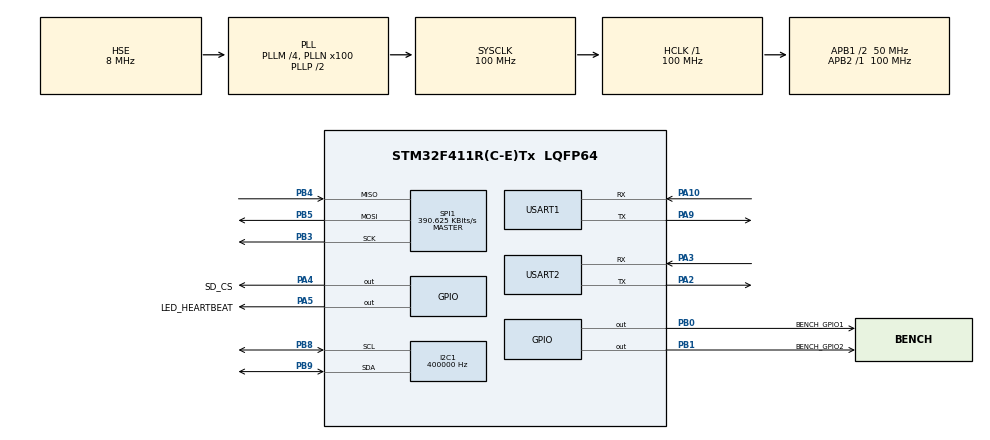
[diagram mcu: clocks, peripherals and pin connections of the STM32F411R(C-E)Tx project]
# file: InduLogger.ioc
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Dma.Request0=USART1_RX
Dma.USART1_RX.0.Direction=DMA_PERIPH_TO_MEMORY
Dma.USART1_RX.0.FIFOMode=DMA_FIFOMODE_DISABLE
Dma.USART1_RX.0.Instance=DMA2_Stream2
Dma.USART1_RX.0.MemDataAlignment=DMA_MDATAALIGN_BYTE
Dma.USART1_RX.0.MemInc=DMA_MINC_ENABLE
Dma.USART1_RX.0.Mode=DMA_CIRCULAR
Dma.USART1_RX.0.PeriphDataAlignment=DMA_PDATAALIGN_BYTE
Dma.USART1_RX.0.PeriphInc=DMA_PINC_DISABLE
Dma.USART1_RX.0.Priority=DMA_PRIORITY_LOW
FATFS._USE_LFN=2
FREERTOS.Tasks01=defaultTask,0,512,StartDefaultTask,Default,NULL,Dynamic,NULL,NULL
FREERTOS.configTOTAL_HEAP_SIZE=30720
FREERTOS.configUSE_NEWLIB_REENTRANT=1
I2C1.ClockSpeed=400000
I2C1.I2C_Mode=I2C_Fast
IWDG.Prescaler=IWDG_PRESCALER_32
IWDG.Reload=1999
Mcu.Family=STM32F4
Mcu.Name=STM32F411R(C-E)Tx
Mcu.Package=LQFP64
NVIC.DMA2_Stream2_IRQn=true\:5\:0\:false\:false\:true\:true\:false\:true\:true
NVIC.PriorityGroup=NVIC_PRIORITYGROUP_4
NVIC.TIM1_TRG_COM_TIM11_IRQn=true\:15\:0\:false\:false\:true\:false\:false\:true\:true
NVIC.TimeBase=TIM1_TRG_COM_TIM11_IRQn
NVIC.TimeBaseIP=TIM11
NVIC.USART1_IRQn=true\:5\:0\:false\:false\:true\:true\:true\:true\:true
PA10.Mode=Asynchronous
PA10.Signal=USART1_RX
PA13.Mode=Serial_Wire
PA13.Signal=SYS_JTMS-SWDIO
PA14.Mode=Serial_Wire
PA14.Signal=SYS_JTCK-SWCLK
PA2.Mode=Asynchronous
PA2.Signal=USART2_TX
PA3.Mode=Asynchronous
PA3.Signal=USART2_RX
PA4.GPIO_Label=SD_CS
PA4.Signal=GPIO_Output
PA5.GPIO_Label=LED_HEARTBEAT
PA5.Signal=GPIO_Output
PA9.Mode=Asynchronous
PA9.Signal=USART1_TX
PB0.GPIO_Label=BENCH_GPIO1
PB0.Signal=GPIO_Output
PB1.GPIO_Label=BENCH_GPIO2
PB1.Signal=GPIO_Output
PB3.Mode=Full_Duplex_Master
PB3.Signal=SPI1_SCK
PB4.Mode=Full_Duplex_Master
PB4.Signal=SPI1_MISO
PB5.Mode=Full_Duplex_Master
PB5.Signal=SPI1_MOSI
PB8.Mode=I2C
PB8.Signal=I2C1_SCL
PB9.Mode=I2C
PB9.Signal=I2C1_SDA
PH0\ -\ OSC_IN.Mode=HSE-External-Clock-Source
PH0\ -\ OSC_IN.Signal=RCC_OSC_IN
PH1\ -\ OSC_OUT.Mode=HSE-External-Clock-Source
PH1\ -\ OSC_OUT.Signal=RCC_OSC_OUT
ProjectManager.HeapSize=0x200
ProjectManager.StackSize=0x400
ProjectManager.TargetToolchain=STM32CubeIDE
RCC.48MHZClocksFreq_Value=50000000
RCC.AHBFreq_Value=100000000
RCC.APB1CLKDivider=RCC_HCLK_DIV2
RCC.APB1Freq_Value=50000000
RCC.APB1TimFreq_Value=100000000
RCC.APB2Freq_Value=100000000
RCC.APB2TimFreq_Value=100000000
RCC.CortexFreq_Value=100000000
RCC.HCLKFreq_Value=100000000
RCC.HSE_VALUE=8000000
RCC.HSI_VALUE=16000000
RCC.LSE_VALUE=32768
RCC.PLLM=4
RCC.PLLN=100
RCC.PLLSourceVirtual=RCC_PLLSOURCE_HSE
RCC.SYSCLKFreq_VALUE=100000000
RCC.SYSCLKSource=RCC_SYSCLKSOURCE_PLLCLK
RCC.VCOOutputFreq_Value=200000000
SPI1.BaudRatePrescaler=SPI_BAUDRATEPRESCALER_256
SPI1.CalculateBaudRate=390.625 KBits/s
SPI1.Direction=SPI_DIRECTION_2LINES
SPI1.Mode=SPI_MODE_MASTER
SPI1.Prescaler=SPI_BAUDRATEPRESCALER_256
SPI1.VirtualType=VM_MASTER
USART1.VirtualMode=VM_ASYNC
USART2.VirtualMode=VM_ASYNC
VP_FATFS_VS_Generic.Mode=User_defined
VP_FREERTOS_VS_CMSIS_V1.Mode=CMSIS_V1
VP_IWDG_VS_IWDG.Mode=IWDG_Activate
VP_SYS_VS_tim11.Mode=TIM11
board=custom

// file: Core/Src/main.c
/* USER CODE BEGIN Header */
/**
  ******************************************************************************
  * @file           : main.c
  * @brief          : Main program body
  ******************************************************************************
  * @attention
  *
  * Copyright (c) 2026 STMicroelectronics.
  * All rights reserved.
  *
  * This software is licensed under terms that can be found in the LICENSE file
  * in the root directory of this software component.
  * If no LICENSE file comes with this software, it is provided AS-IS.
  *
  ******************************************************************************
  */
/* USER CODE END Header */
#include "main.h"
#include "cmsis_os.h"
#include "fatfs.h"

/* USER CODE BEGIN Includes */
#include <stdio.h>
#include "app/industrial_logger/app_logger.h"
#include "app/industrial_logger/app_monitor.h"
#include "app/industrial_logger/app_sensors.h"
#include "bsp/uart_link/uart_link.h"
#include "platform/comm/app_comm.h"
#include "platform/config/config.h"
#include "platform/console/console.h"
#include "platform/diag/diag.h"
#include "platform/stats/stats.h"
/* USER CODE END Includes */

I2C_HandleTypeDef hi2c1;

IWDG_HandleTypeDef hiwdg;

SPI_HandleTypeDef hspi1;

UART_HandleTypeDef huart1;
UART_HandleTypeDef huart2;
DMA_HandleTypeDef hdma_usart1_rx;

osThreadId defaultTaskHandle;
/* USER CODE BEGIN PV */
/* Task 9 (T9): Sensor -> sensorQ -> Logger; Monitor alive-masks the IWDG.
 * Handles live here (single creation point) and are read by app_monitor.c. */
QueueHandle_t sensorQ;
TaskHandle_t sensorTaskHandle;
TaskHandle_t loggerTaskHandle;
TaskHandle_t monitorTaskHandle;
TaskHandle_t commTaskHandle;
/* USER CODE END PV */

void SystemClock_Config(void);
static void MX_GPIO_Init(void);
static void MX_DMA_Init(void);
static void MX_IWDG_Init(void);
static void MX_I2C1_Init(void);
static void MX_SPI1_Init(void);
static void MX_USART1_UART_Init(void);
static void MX_USART2_UART_Init(void);
void StartDefaultTask(void const * argument);

int main(void)
{

  /* MCU Configuration--------------------------------------------------------*/

  /* Reset of all peripherals, Initializes the Flash interface and the Systick. */
  HAL_Init();

  /* Configure the system clock */
  SystemClock_Config();

  /* Initialize all configured peripherals */
  MX_GPIO_Init();
  MX_DMA_Init();
  MX_IWDG_Init();
  MX_I2C1_Init();
  MX_SPI1_Init();
  MX_USART1_UART_Init();
  MX_USART2_UART_Init();
  MX_FATFS_Init();
  /* USER CODE BEGIN 2 */
  DBGMCU->APB1FZ |= DBGMCU_APB1_FZ_DBG_IWDG_STOP; /* pause IWDG under debugger */
  diag_dwt_init(); /* DWT cycle counter + bench GPIOs (T10) */
  console_init(); /* banner + printf retarget over ST-LINK VCP */
  printf("reset cause: %s\r\n", reset_cause_name(stats_boot_cause()));
  uart_link_init(); /* USART1 IDLE-line DMA receiver (M2.2, Task 5) */
  /* USER CODE END 2 */

  /* Create the thread(s) */
  /* definition and creation of defaultTask */
  osThreadDef(defaultTask, StartDefaultTask, osPriorityNormal, 0, 512);
  defaultTaskHandle = osThreadCreate(osThread(defaultTask), NULL);

  /* USER CODE BEGIN RTOS_THREADS */
  /* Task 9: Sensor -> sensorQ -> Logger (CSV); Monitor feeds IWDG on the
   * alive-mask. Queue first (producers/consumers start with it in place). */
  sensorQ = xQueueCreate(SENSOR_Q_LEN, sizeof(sensor_sample_t));
  configASSERT(sensorQ != NULL);
  /* Priorities (T9 Step 6 board finding): the Monitor must outrank the
   * throughput worker. At 200 Hz stress sampling the queue stays full and the
   * logger busy-loops (xQueueReceive never blocks); at prio 1 the monitor was
   * starved below the logger's prio 2 -> no wd_all_alive() -> no IWDG feed ->
   * ~2 s resets (26 cycles captured). Watchdog-check at prio 2 costs nothing
   * (runs microseconds per second); the logger at prio 1 still receives the
   * sensor's blocking gaps (~90% of CPU at any realistic sample rate). */
  xTaskCreate(app_sensor_task, "sensor", 512, NULL, 3, &sensorTaskHandle);
  xTaskCreate(app_logger_task, "logger", 1024, NULL, 1, &loggerTaskHandle);
  /* Monitor = HIGHEST priority (board evidence, stress round): a throughput
   * task that keeps missing its deadline (vTaskDelayUntil with work longer
   * than the period never blocks = never yields) starves every lower-prio
   * task, watchdog included. The watchdog must preempt. */
  xTaskCreate(app_monitor_task, "monitor", 512, NULL, 4, &monitorTaskHandle);
  /* CommTask = M2.2 UART link driver. Prio 2: MUST stay below monitor (4)
   * so it can never starve the 1 s IWDG feed (T9 discipline); above the
   * logger (1) so link traffic outranks flash writes. */
  xTaskCreate(app_comm_task, "comm", 1024, NULL, 2, &commTaskHandle);
  /* USER CODE END RTOS_THREADS */

  /* Start scheduler */
  osKernelStart();

  /* We should never get here as control is now taken by the scheduler */

  /* Infinite loop */
  while (1)
  {

  }
}

void SystemClock_Config(void)
{
  RCC_OscInitTypeDef RCC_OscInitStruct = {0};
  RCC_ClkInitTypeDef RCC_ClkInitStruct = {0};

  /** Configure the main internal regulator output voltage
  */
  __HAL_RCC_PWR_CLK_ENABLE();
  __HAL_PWR_VOLTAGESCALING_CONFIG(PWR_REGULATOR_VOLTAGE_SCALE1);

  /** Initializes the RCC Oscillators according to the specified parameters
  * in the RCC_OscInitTypeDef structure.
  */
  RCC_OscInitStruct.OscillatorType = RCC_OSCILLATORTYPE_LSI|RCC_OSCILLATORTYPE_HSE;
  RCC_OscInitStruct.HSEState = RCC_HSE_BYPASS;
  RCC_OscInitStruct.LSIState = RCC_LSI_ON;
  RCC_OscInitStruct.PLL.PLLState = RCC_PLL_ON;
  RCC_OscInitStruct.PLL.PLLSource = RCC_PLLSOURCE_HSE;
  RCC_OscInitStruct.PLL.PLLM = 4;
  RCC_OscInitStruct.PLL.PLLN = 100;
  RCC_OscInitStruct.PLL.PLLP = RCC_PLLP_DIV2;
  RCC_OscInitStruct.PLL.PLLQ = 4;
  if (HAL_RCC_OscConfig(&RCC_OscInitStruct) != HAL_OK)
  {
    Error_Handler();
  }

  /** Initializes the CPU, AHB and APB buses clocks
  */
  RCC_ClkInitStruct.ClockType = RCC_CLOCKTYPE_HCLK|RCC_CLOCKTYPE_SYSCLK
                              |RCC_CLOCKTYPE_PCLK1|RCC_CLOCKTYPE_PCLK2;
  RCC_ClkInitStruct.SYSCLKSource = RCC_SYSCLKSOURCE_PLLCLK;
  RCC_ClkInitStruct.AHBCLKDivider = RCC_SYSCLK_DIV1;
  RCC_ClkInitStruct.APB1CLKDivider = RCC_HCLK_DIV2;
  RCC_ClkInitStruct.APB2CLKDivider = RCC_HCLK_DIV1;

  if (HAL_RCC_ClockConfig(&RCC_ClkInitStruct, FLASH_LATENCY_3) != HAL_OK)
  {
    Error_Handler();
  }
}

static void MX_I2C1_Init(void)
{

  hi2c1.Instance = I2C1;
  hi2c1.Init.ClockSpeed = 400000;
  hi2c1.Init.DutyCycle = I2C_DUTYCYCLE_2;
  hi2c1.Init.OwnAddress1 = 0;
  hi2c1.Init.AddressingMode = I2C_ADDRESSINGMODE_7BIT;
  hi2c1.Init.DualAddressMode = I2C_DUALADDRESS_DISABLE;
  hi2c1.Init.OwnAddress2 = 0;
  hi2c1.Init.GeneralCallMode = I2C_GENERALCALL_DISABLE;
  hi2c1.Init.NoStretchMode = I2C_NOSTRETCH_DISABLE;
  if (HAL_I2C_Init(&hi2c1) != HAL_OK)
  {
    Error_Handler();
  }

}

static void MX_IWDG_Init(void)
{

  hiwdg.Instance = IWDG;
  hiwdg.Init.Prescaler = IWDG_PRESCALER_32;
  hiwdg.Init.Reload = 1999;
  if (HAL_IWDG_Init(&hiwdg) != HAL_OK)
  {
    Error_Handler();
  }

}

static void MX_SPI1_Init(void)
{

  /* SPI1 parameter configuration*/
  hspi1.Instance = SPI1;
  hspi1.Init.Mode = SPI_MODE_MASTER;
  hspi1.Init.Direction = SPI_DIRECTION_2LINES;
  hspi1.Init.DataSize = SPI_DATASIZE_8BIT;
  hspi1.Init.CLKPolarity = SPI_POLARITY_LOW;
  hspi1.Init.CLKPhase = SPI_PHASE_1EDGE;
  hspi1.Init.NSS = SPI_NSS_SOFT;
  hspi1.Init.BaudRatePrescaler = SPI_BAUDRATEPRESCALER_256;
  hspi1.Init.FirstBit = SPI_FIRSTBIT_MSB;
  hspi1.Init.TIMode = SPI_TIMODE_DISABLE;
  hspi1.Init.CRCCalculation = SPI_CRCCALCULATION_DISABLE;
  hspi1.Init.CRCPolynomial = 10;
  if (HAL_SPI_Init(&hspi1) != HAL_OK)
  {
    Error_Handler();
  }

}

static void MX_USART1_UART_Init(void)
{

  huart1.Instance = USART1;
  huart1.Init.BaudRate = 115200;
  huart1.Init.WordLength = UART_WORDLENGTH_8B;
  huart1.Init.StopBits = UART_STOPBITS_1;
  huart1.Init.Parity = UART_PARITY_NONE;
  huart1.Init.Mode = UART_MODE_TX_RX;
  huart1.Init.HwFlowCtl = UART_HWCONTROL_NONE;
  huart1.Init.OverSampling = UART_OVERSAMPLING_16;
  if (HAL_UART_Init(&huart1) != HAL_OK)
  {
    Error_Handler();
  }

}

static void MX_USART2_UART_Init(void)
{

  huart2.Instance = USART2;
  huart2.Init.BaudRate = 115200;
  huart2.Init.WordLength = UART_WORDLENGTH_8B;
  huart2.Init.StopBits = UART_STOPBITS_1;
  huart2.Init.Parity = UART_PARITY_NONE;
  huart2.Init.Mode = UART_MODE_TX_RX;
  huart2.Init.HwFlowCtl = UART_HWCONTROL_NONE;
  huart2.Init.OverSampling = UART_OVERSAMPLING_16;
  if (HAL_UART_Init(&huart2) != HAL_OK)
  {
    Error_Handler();
  }

}

static void MX_DMA_Init(void)
{

  /* DMA controller clock enable */
  __HAL_RCC_DMA2_CLK_ENABLE();

  /* DMA interrupt init */
  /* DMA2_Stream2_IRQn interrupt configuration */
  HAL_NVIC_SetPriority(DMA2_Stream2_IRQn, 5, 0);
  HAL_NVIC_EnableIRQ(DMA2_Stream2_IRQn);

}

static void MX_GPIO_Init(void)
{
  GPIO_InitTypeDef GPIO_InitStruct = {0};

  /* GPIO Ports Clock Enable */
  __HAL_RCC_GPIOH_CLK_ENABLE();
  __HAL_RCC_GPIOA_CLK_ENABLE();
  __HAL_RCC_GPIOB_CLK_ENABLE();

  /*Configure GPIO pin Output Level */
  HAL_GPIO_WritePin(GPIOA, SD_CS_Pin|LED_HEARTBEAT_Pin, GPIO_PIN_RESET);

  /*Configure GPIO pin Output Level */
  HAL_GPIO_WritePin(GPIOB, BENCH_GPIO1_Pin|BENCH_GPIO2_Pin, GPIO_PIN_RESET);

  /*Configure GPIO pins : SD_CS_Pin LED_HEARTBEAT_Pin */
  GPIO_InitStruct.Pin = SD_CS_Pin|LED_HEARTBEAT_Pin;
  GPIO_InitStruct.Mode = GPIO_MODE_OUTPUT_PP;
  GPIO_InitStruct.Pull = GPIO_NOPULL;
  GPIO_InitStruct.Speed = GPIO_SPEED_FREQ_LOW;
  HAL_GPIO_Init(GPIOA, &GPIO_InitStruct);

  /*Configure GPIO pins : BENCH_GPIO1_Pin BENCH_GPIO2_Pin */
  GPIO_InitStruct.Pin = BENCH_GPIO1_Pin|BENCH_GPIO2_Pin;
  GPIO_InitStruct.Mode = GPIO_MODE_OUTPUT_PP;
  GPIO_InitStruct.Pull = GPIO_NOPULL;
  GPIO_InitStruct.Speed = GPIO_SPEED_FREQ_LOW;
  HAL_GPIO_Init(GPIOB, &GPIO_InitStruct);

}

void StartDefaultTask(void const * argument)
{
  /* USER CODE BEGIN 5 */
  /* Task 9 moved everything out of this loop: sensors -> Sensor task,
   * logging -> Logger task, IWDG feeding -> Monitor alive-mask. The default
   * task is only the visible heartbeat now. */
  for (;;) {
    HAL_GPIO_TogglePin(LED_HEARTBEAT_GPIO_Port, LED_HEARTBEAT_Pin);
    vTaskDelay(pdMS_TO_TICKS(500));
  }
  /* USER CODE END 5 */
}

void HAL_TIM_PeriodElapsedCallback(TIM_HandleTypeDef *htim)
{
  if (htim->Instance == TIM11) {
    HAL_IncTick();
  }
}

void Error_Handler(void)
{
  __disable_irq();
  while (1)
  {
  }
}
